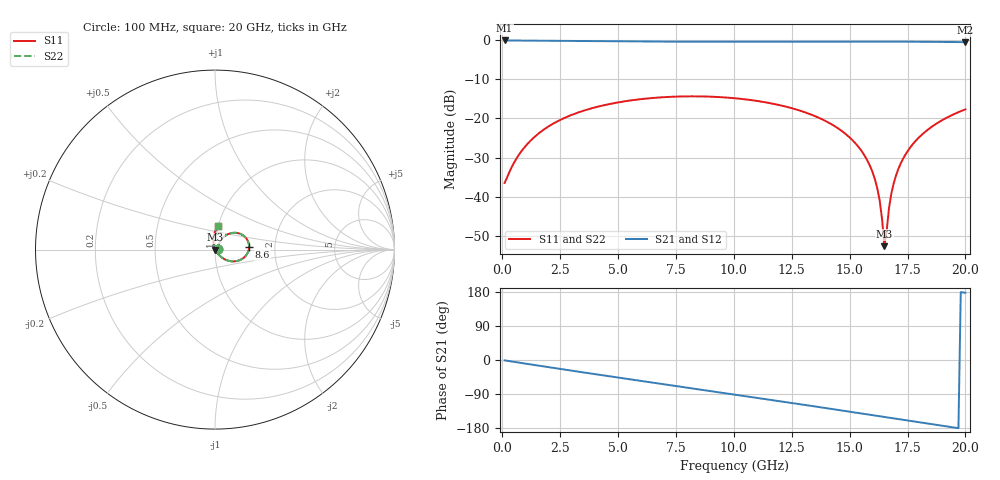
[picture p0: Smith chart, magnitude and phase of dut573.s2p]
! Touchstone file exported from HFSS 2026.1.0
!  File:  C:/ffzhzh/LocalFiles/Ansys_Project_Files/temp_train_TSV_RDL_573_1783118032_35180.aedt
!  Generated:  06:42:31 AM Jul  4, 2026
!  Design:  TSV_RDL
!  Project:  temp_train_TSV_RDL_573_1783118032_35180
! Variables:
!  h_bsmrdl = 2.36um
!  h_ox = 20um
!  h_rdl = 5um
!  h_sub = 93.13um
!  h_tmrdl = 5.88um
!  h_tsv = 93.13um
!  h_via = 3um
!  l_bsmrdl = 152.63um
!  l_sub = 2512.32um
!  l_tmrdl = 394.22um
!  m_sub = 200um
!  pitch = 31.06um
!  r_tsv = 11.75um
!  s_tmrdl = 10um
!  w_bsmrdl = 10.47um
!  w_sub = 500um
!  w_tmrdl = 15.38um
!  x_tsv_center1 = 401.91um
!  x_tsv_center2 = 565.01um
!  x_tsv_center3 = 974.61um
!  x_tsv_center4 = 1137.71um
!  x_tsv_center5 = 1547.31um
!  x_tsv_center6 = 1710.41um
# GHz S MA R 50.000000
! Terminal data exported
! Port[1] = TM_RDL1_1_T1
! Port[2] = TM_RDL5_1_T1
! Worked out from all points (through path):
!   200 points, 100 MHz to 20 GHz, reference 50 ohm
!   highest |S21| = -0.12 dB at 100 MHz (marker M1); lowest = -0.6 dB at 20 GHz (marker M2)
!   group delay of S21, straight-line fit = 25.2 ps
!   lowest |S11| = -52.6 dB at 16.5 GHz (marker M3), VSWR 1.00, Z = 50.2 + j0.00673 ohm
!   |S11| at or under -10 dB: start of sweep to end of sweep
!   |S22| runs from -52.5 to -14.4 dB; largest |S21 - S12| = 6.7e-14
!   S11 on the Smith chart (normalised r, x): 100 MHz: 1.03, +0.01; 8.6 GHz: 1.47, +0.05; 20 GHz: 1.00, +0.26
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0.1  0.01505 17.5  0.9857 -1.0  0.9857 -1.0  0.01505 17.5
! Gamma 0 0 0 0
! Port Impedance 50 0 50 0
0.7  0.03375 53.0  0.9825 -6.7  0.9825 -6.7  0.03375 53.0
1.4  0.05834 57.9  0.9796 -13.3  0.9796 -13.3  0.05834 57.9
2.3  0.08911 54.7  0.975 -21.7  0.975 -21.7  0.08911 54.7
3.5  0.1251 46.4  0.968 -32.8  0.968 -32.8  0.1251 46.4
6.8  0.185 19.8  0.9526 -62.4  0.9526 -62.4  0.185 19.8
8.6  0.1907 4.8  0.9493 -78.4  0.9493 -78.4  0.1907 4.8
10.1  0.1801 -7.8  0.9494 -91.7  0.9494 -91.7  0.1801 -7.8
13.4  0.11 -36.1  0.9542 -121.6  0.9542 -121.6  0.11 -36.1
14.8  0.06429 -47.8  0.9554 -134.5  0.9554 -134.5  0.06429 -47.8
15.7  0.03154 -54.0  0.955 -142.8  0.955 -142.8  0.03153 -53.9
16  0.02024 -54.5  0.9546 -145.6  0.9546 -145.6  0.02024 -54.4
16.2  0.01267 -52.6  0.9543 -147.5  0.9543 -147.5  0.01267 -52.5
16.4  0.005255 -39.9  0.9539 -149.4  0.9539 -149.4  0.005255 -39.8
16.5  0.00235 1.6  0.9537 -150.3  0.9537 -150.3  0.00236 1.9
16.6  0.003651 77.7  0.9534 -151.2  0.9534 -151.2  0.003664 77.7
16.7  0.007158 95.5  0.9532 -152.1  0.9532 -152.1  0.007168 95.5
16.9  0.01476 102.9  0.9527 -154.0  0.9527 -154.0  0.01477 102.8
17.1  0.0225 104.0  0.9521 -155.9  0.9521 -155.9  0.02251 104.0
17.7  0.04581 101.3  0.95 -161.4  0.95 -161.4  0.04581 101.3
18.7  0.08397 93.6  0.9455 -170.7  0.9455 -170.7  0.08398 93.6
20  0.1303 82.5  0.9381 177.3  0.9381 177.3  0.1303 82.5
